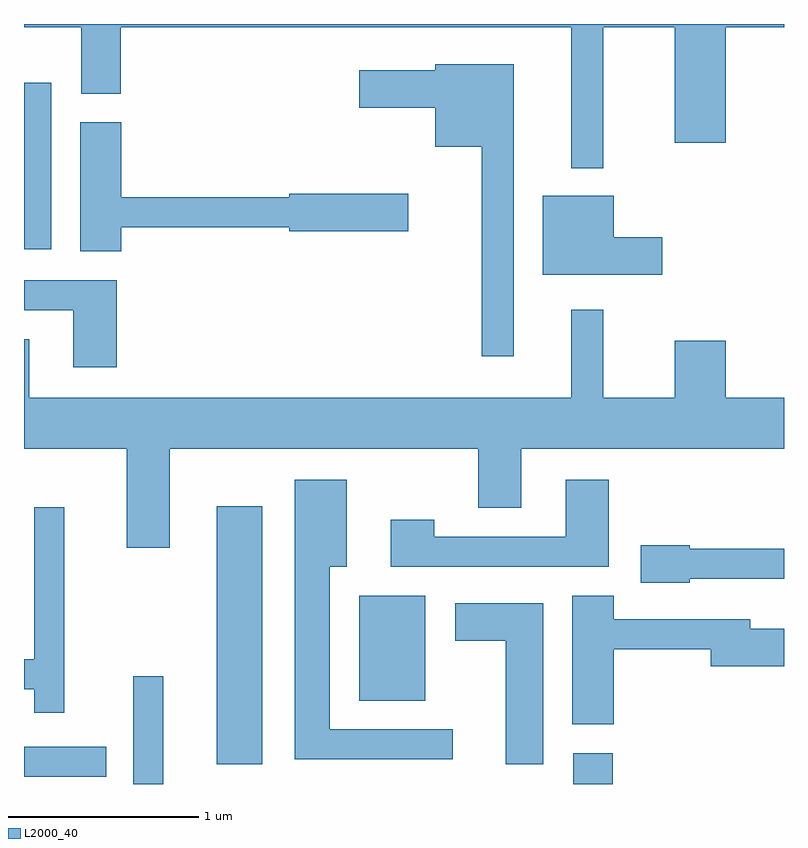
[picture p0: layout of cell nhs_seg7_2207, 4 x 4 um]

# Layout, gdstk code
import gdstk
lib = gdstk.Library(unit=1e-6, precision=1e-09)
def R(c, l, rs):  # rectangles x0, y0, x1, y1
    for r in rs: c.add(gdstk.rectangle(r[:2], r[2:], *l))
def P(c, l, *ps):  # polygons
    for p in ps: c.add(gdstk.Polygon(p, *l))
L2000_40 = (2000, 40)

nhs_seg7_2207 = lib.new_cell('nhs_seg7_2207')
R(nhs_seg7_2207, L2000_40, [(252.186,1790.252,252.344,1790.818), (254.501,1790.252,254.709,1790.414), (251.611,1790.291,252.043,1790.449), (252.626,1790.356,252.864,1791.714), (253.376,1790.691,253.724,1791.244), (251.611,1793.066,251.754,1793.944)])
P(nhs_seg7_2207, L2000_40, [(254.659,1794.236),(255.036,1794.236),(255.036,1793.626),(255.304,1793.626),(255.304,1794.236),(255.611,1794.236),(255.611,1794.252),(251.611,1794.252),(251.611,1794.236),(251.911,1794.236),(251.911,1793.886),(252.119,1793.886),(252.119,1794.236),(254.491,1794.236),(254.491,1793.493),(254.659,1793.493)],
  [(254.189,1794.039),(253.776,1794.039),(253.776,1794.009),(253.376,1794.009),(253.376,1793.811),(253.776,1793.811),(253.776,1793.606),(254.021,1793.606),(254.021,1792.503),(254.189,1792.503)],
  [(252.124,1793.181),(253.006,1793.181),(253.006,1793.161),(253.634,1793.161),(253.634,1793.359),(253.006,1793.359),(253.006,1793.339),(252.124,1793.339),(252.124,1793.734),(251.906,1793.734),(251.906,1793.056),(252.124,1793.056)],
  [(254.969,1793.129),(254.714,1793.129),(254.714,1793.349),(254.341,1793.349),(254.341,1792.931),(254.969,1792.931)],
  [(252.099,1792.904),(251.611,1792.904),(251.611,1792.746),(251.871,1792.746),(251.871,1792.446),(252.099,1792.446)],
  [(252.379,1792.016),(254.001,1792.016),(254.001,1791.706),(254.229,1791.706),(254.229,1792.016),(255.611,1792.016),(255.611,1792.284),(255.304,1792.284),(255.304,1792.584),(255.036,1792.584),(255.036,1792.284),(254.659,1792.284),(254.659,1792.748),(254.491,1792.748),(254.491,1792.284),(251.639,1792.284),(251.639,1792.594),(251.611,1792.594),(251.611,1792.016),(252.151,1792.016),(252.151,1791.496),(252.379,1791.496)],
  [(254.689,1791.854),(254.461,1791.854),(254.461,1791.554),(253.769,1791.554),(253.769,1791.644),(253.541,1791.644),(253.541,1791.396),(254.689,1791.396)],
  [(253.868,1790.539),(253.219,1790.539),(253.219,1791.396),(253.309,1791.396),(253.309,1791.854),(253.036,1791.854),(253.036,1790.381),(253.868,1790.381)],
  [(251.824,1791.708),(251.666,1791.708),(251.666,1790.909),(251.611,1790.909),(251.611,1790.751),(251.666,1790.751),(251.666,1790.628),(251.824,1790.628)],
  [(255.114,1791.331),(255.611,1791.331),(255.611,1791.489),(255.114,1791.489),(255.114,1791.509),(254.856,1791.509),(254.856,1791.311),(255.114,1791.311)],
  [(254.714,1790.961),(255.226,1790.961),(255.226,1790.871),(255.611,1790.871),(255.611,1791.069),(255.434,1791.069),(255.434,1791.119),(254.714,1791.119),(254.714,1791.244),(254.496,1791.244),(254.496,1790.566),(254.714,1790.566)],
  [(254.344,1791.204),(253.881,1791.204),(253.881,1791.006),(254.146,1791.006),(254.146,1790.356),(254.344,1790.356)])

lib.write_gds('nhs_seg7_2207.gds')
